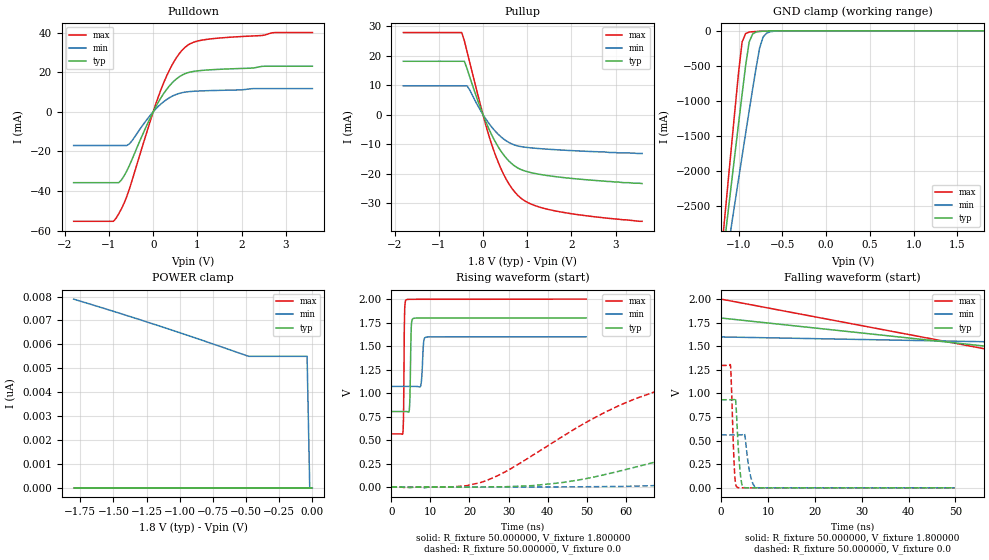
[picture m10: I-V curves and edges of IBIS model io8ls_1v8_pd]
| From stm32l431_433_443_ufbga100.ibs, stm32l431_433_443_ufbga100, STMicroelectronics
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|   Model io8ls_1v8_pd
[Model]  io8ls_1v8_pd
Model_type I/O
Polarity   Non-Inverting
Enable   Active-Low
Vinl =   0.540000V
Vinh =   1.260000V
Vmeas =  0.900000V
Cref =   100.000000nF
Rref =   1.000000k
Vref =   1.800000V
C_comp   2.197300pF   2.162700pF   2.264100pF
[Temperature Range]   25.000000   0.125000k   -40.000000
[Pullup Reference]   1.800000V   1.600000V   2.000000V
[Pulldown Reference]   0.0V   0.0V   0.0V
[POWER Clamp Reference]   1.800000V   1.600000V   2.000000V
[GND Clamp Reference]   0.0V   0.0V   0.0V
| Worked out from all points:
|   slope of the pulldown table from 0 to 0.27 V, typ, clamps not added: 26.2 ohm
|   slope of the pullup table from 0 to 0.27 V, typ, clamps not added: 30.1 ohm
|   GND clamp passes 1 mA (typ) near -0.58 V on its own axis
|   rising waveform, R_fixture 50.000000, V_fixture 1.800000: 20-80 % time 248ps typ, 382ps min, 184ps max; typ from 0.804 V to 1.8 V
|   rising waveform, R_fixture 50.000000, V_fixture 0.0: 20-80 % time 65.2ns typ, 116ns min, 36.2ns max; typ from 0 V to 0.933 V
|   falling waveform, R_fixture 50.000000, V_fixture 1.800000: 20-80 % time 115ns typ, 165ns min, 91.9ns max; typ from 1.8 V to 0.804 V
|   falling waveform, R_fixture 50.000000, V_fixture 0.0: 20-80 % time 709ps typ, 1.01ns min, 545ps max; typ from 0.933 V to 0 V
[Pulldown]
|Voltage   I(typ)   I(min)   I(max)
-1.8V     -35.82mA   -17.03mA   -55.34mA
-900mV    -35.82mA   -17.03mA   -55.34mA
-840mV    -35.82mA   -17.03mA   -53.76mA
-720mV    -34.49mA   -17.03mA   -49.08mA
-540mV    -27.18mA   -16.22mA   -39.07mA
-60mV     -2.756mA   -1.584mA   -4.226mA
240mV     9.353mA    5.172mA    14.85mA
480mV     15.75mA    8.427mA    25.77mA
720mV     19.29mA    9.947mA    32.62mA
960mV     20.57mA    10.43mA    35.5mA
1.32V     21.27mA    10.74mA    36.91mA
3.6V      23.03mA    11.73mA    40.05mA
[Pullup]
|Voltage   I(typ)   I(min)   I(max)
-1.8V     18.05mA    9.741mA    27.78mA
-480mV    18.05mA    9.741mA    27.78mA
-420mV    18.05mA    9.741mA    25.03mA
-360mV    15.57mA    9.741mA    21.38mA
60mV      -2.268mA   -1.401mA   -3.341mA
240mV     -8.143mA   -5.004mA   -12mA
360mV     -11.31mA   -6.914mA   -16.72mA
540mV     -15mA      -9.056mA   -22.31mA
840mV     -18.52mA   -10.83mA   -28.11mA
1.14V     -19.87mA   -11.38mA   -30.67mA
1.68V     -21.13mA   -11.96mA   -32.81mA
3.6V      -23.4mA    -13.2mA    -36.2mA
[GND_clamp]
|Voltage   I(typ)   I(min)   I(max)
-1.8V     -9.861A    -8.8A      -9.626A
-1.16V    -3.004A    -3.417A    -2.68A
-1.12V    -2.579A    -3.088A    -2.15A
-1.08V    -2.155A    -2.76A     -1.623A
-1V       -1.315A    -2.108A    -586.3mA
-960mV    -900.6mA   -1.784A    -158.3mA
-920mV    -496.8mA   -1.462A    -39.4mA
-880mV    -160.5mA   -1.144A    -17.83mA
-840mV    -45.94mA   -830.4mA   -12.53mA
-760mV    -8.275mA   -243mA     -7.558mA
-680mV    -3.402mA   -33.06mA   -3.844mA
1.8V      47.61uA    51.9uA     39.21uA
[POWER_clamp]
|Voltage   I(typ)   I(min)   I(max)
-1.8V     0A         7.891nA    0A
-1.14V    0A         6.744nA    0A
-480mV    0A         5.5nA      0A
-40mV     0A         5.5nA      0A
-20mV     0A         0A         0A
0V        0A         0A         0A
[Ramp]
| variable   typ   min   max
dV/dt_r  0.56009/65.12327n   0.33637/0.11606u   0.77826/36.16950n
dV/dt_f  0.59737/66.14891n   0.31692/0.11606u   0.86050/35.16380n
R_load = 50.000000
[Rising Waveform]
R_fixture= 50.000000
V_fixture= 1.800000
V_fixture_min= 1.600000
V_fixture_max= 2.000000
|time   V(typ)   V(min)   V(max)
0s        803.6mV    1.071V     565.2mV
2.903ns   803.6mV    1.071V     566.5mV
3.103ns   803.6mV    1.071V     740.3mV
3.403ns   803.6mV    1.071V     1.897V
3.804ns   803.4mV    1.071V     1.992V
4.605ns   827.4mV    1.071V     1.997V
5.105ns   1.718V     1.071V     1.997V
5.606ns   1.794V     1.071V     1.998V
8.809ns   1.798V     1.594V     1.998V
49.85ns   1.799V     1.599V     1.999V
[Rising Waveform]
R_fixture= 50.000000
V_fixture= 0.0
V_fixture_min= 0.0
V_fixture_max= 0.0
|time   V(typ)   V(min)   V(max)
0s        1.977nV    41.39nV    1.484nV
15.62ns   -76.86uV   -40.16uV   1.644mV
24.02ns   544.4uV    -30.84uV   64.54mV
43.24ns   44.68mV    938.1uV    522.3mV
55.26ns   138.3mV    4.907mV    806mV
73.27ns   327.9mV    21.32mV    1.086V
108.1ns   645.8mV    113.3mV    1.258V
157.4ns   852.3mV    285.6mV    1.292V
263.1ns   929mV      499.6mV    1.297V
598.2ns   933.5mV    560.6mV    1.297V
[Falling Waveform]
R_fixture= 50.000000
V_fixture= 1.800000
V_fixture_min= 1.600000
V_fixture_max= 2.000000
|time   V(typ)   V(min)   V(max)
0s        1.799V     1.599V     1.999V
150.2ns   1.006V     1.463V     593.7mV
300.3ns   816.7mV    1.135V     565.7mV
450.5ns   804.6mV    1.083V     565.3mV
750.8ns   803.6mV    1.071V     565.2mV
14.86us   803.6mV    1.071V     565.2mV
[Falling Waveform]
R_fixture= 50.000000
V_fixture= 0.0
V_fixture_min= 0.0
V_fixture_max= 0.0
|time   V(typ)   V(min)   V(max)
0s        933.5mV    560.6mV    1.297V
2.002ns   933.7mV    560.6mV    1.302V
2.803ns   937.5mV    560.7mV    226.5mV
3.103ns   927.7mV    560.8mV    37.93mV
3.403ns   666.3mV    560.9mV    6.923mV
4.204ns   103mV      560.5mV    481.7uV
4.805ns   4.882mV    573.6mV    137uV
6.306ns   123uV      118.5mV    54.06uV
7.508ns   1.644uV    2.567mV    38.57uV
49.85ns   1.977nV    41.39nV    1.484nV
